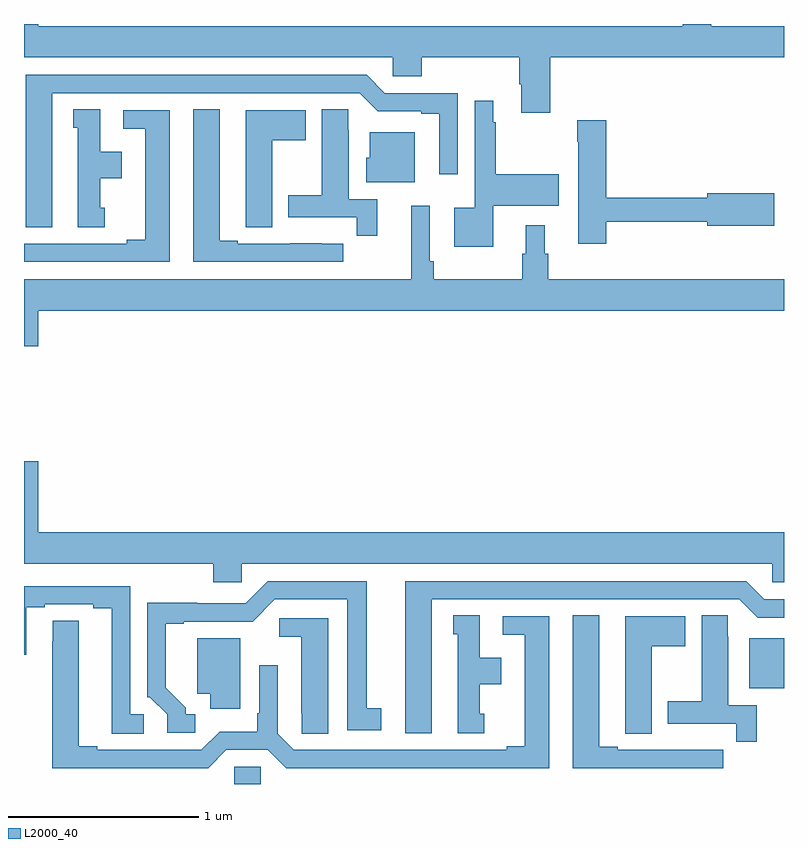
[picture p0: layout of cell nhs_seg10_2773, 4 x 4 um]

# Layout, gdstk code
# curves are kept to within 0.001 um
import gdstk
lib = gdstk.Library(unit=1e-6, precision=1e-09)
def R(c, l, rs):  # rectangles x0, y0, x1, y1
    for r in rs: c.add(gdstk.rectangle(r[:2], r[2:], *l))
def P(c, l, *ps):  # polygons
    for p in ps: c.add(gdstk.Polygon(p, *l))
L2000_40 = (2000, 40)

nhs_seg10_2773 = lib.new_cell('nhs_seg10_2773')
R(nhs_seg10_2773, L2000_40, [(262.107,1288.5,262.245,1288.59), (264.818,1289.003,265,1289.266)])
P(nhs_seg10_2773, L2000_40, [(263.771,1292.324),(265,1292.324),(265,1292.488),(264.618,1292.488),(264.618,1292.5),(264.467,1292.5),(264.467,1292.488),(261.076,1292.488),(261.076,1292.5),(261,1292.5),(261,1292.324),(262.941,1292.324),(262.941,1292.226),(263.093,1292.226),(263.093,1292.324),(263.606,1292.324),(263.606,1292.182),(263.618,1292.182),(263.618,1292.034),(263.771,1292.034)],
  [(261.148,1292.136),(262.767,1292.136),(262.863,1292.04),(263.09,1292.04),(263.09,1292.028),(263.186,1292.028),(263.186,1291.71),(263.283,1291.71),(263.283,1292.136),(262.899,1292.136),(262.803,1292.232),(261.008,1292.232),(261.008,1291.431),(261.148,1291.431)],
  [(263.47,1291.544),(263.815,1291.544),(263.815,1291.71),(263.482,1291.71),(263.482,1291.982),(263.47,1291.982),(263.47,1292.095),(263.373,1292.095),(263.373,1291.534),(263.264,1291.534),(263.264,1291.328),(263.47,1291.328)],
  [(262.859,1291.578),(262.708,1291.578),(262.708,1291.94),(262.707,1291.94),(262.707,1292.051),(262.568,1292.051),(262.568,1291.599),(262.391,1291.599),(262.391,1291.482),(262.75,1291.482),(262.75,1291.386),(262.859,1291.386)],
  [(261.424,1291.533),(261.4,1291.533),(261.4,1291.688),(261.514,1291.688),(261.514,1291.828),(261.4,1291.828),(261.4,1292.051),(261.26,1292.051),(261.26,1291.953),(261.284,1291.953),(261.284,1291.431),(261.424,1291.431)],
  [(262.681,1291.344),(262.568,1291.344),(262.568,1291.345),(262.402,1291.345),(262.402,1291.344),(262.126,1291.344),(262.126,1291.359),(262.03,1291.359),(262.03,1292.051),(261.89,1292.051),(261.89,1291.248),(262.681,1291.248)],
  [(262.306,1291.888),(262.483,1291.888),(262.483,1292.047),(262.166,1292.047),(262.166,1291.537),(262.167,1291.537),(262.167,1291.429),(262.306,1291.429)],
  [(261.766,1292.046),(261.522,1292.046),(261.522,1291.95),(261.638,1291.95),(261.638,1291.364),(261.542,1291.364),(261.542,1291.344),(261,1291.344),(261,1291.248),(261.766,1291.248)],
  [(264.065,1291.458),(264.596,1291.458),(264.596,1291.439),(264.949,1291.439),(264.949,1291.61),(264.596,1291.61),(264.596,1291.586),(264.065,1291.586),(264.065,1291.993),(263.911,1291.993),(263.911,1291.88),(263.918,1291.88),(263.918,1291.344),(264.065,1291.344)],
  [(263.056,1291.93),(262.82,1291.93),(262.82,1291.797),(262.802,1291.797),(262.802,1291.667),(263.056,1291.667)],
  [(261.076,1290.992),(265,1290.992),(265,1291.156),(263.759,1291.156),(263.759,1291.29),(263.74,1291.29),(263.74,1291.441),(263.642,1291.441),(263.642,1291.29),(263.623,1291.29),(263.623,1291.156),(263.156,1291.156),(263.156,1291.252),(263.136,1291.252),(263.136,1291.543),(263.039,1291.543),(263.039,1291.156),(261,1291.156),(261,1290.804),(261.076,1290.804)],
  [(262.146,1289.66),(264.939,1289.66),(264.939,1289.562),(265,1289.562),(265,1289.824),(261.076,1289.824),(261.076,1290.199),(261,1290.199),(261,1289.66),(261.995,1289.66),(261.995,1289.562),(262.146,1289.562)],
  [(263.146,1289.472),(264.765,1289.472),(264.861,1289.376),(265,1289.376),(265,1289.472),(264.897,1289.472),(264.801,1289.568),(263.006,1289.568),(263.006,1288.767),(263.146,1288.767)],
  [(261.901,1288.866),(261.85,1288.866),(261.85,1288.901),(261.745,1289.006),(261.745,1289.343),(261.841,1289.343),(261.841,1289.355),(262.203,1289.355),(262.32,1289.472),(262.7,1289.472),(262.7,1288.782),(262.879,1288.782),(262.879,1288.898),(262.804,1288.898),(262.804,1289.568),(262.284,1289.568),(262.167,1289.451),(261.911,1289.451),(261.911,1289.453),(261.648,1289.453),(261.648,1288.956),(261.663,1288.956),(261.753,1288.866),(261.753,1288.77),(261.901,1288.77)],
  [(261.631,1288.866),(261.558,1288.866),(261.558,1289.541),(261,1289.541),(261,1289.179),(261.013,1289.179),(261.013,1289.43),(261.109,1289.43),(261.109,1289.445),(261.365,1289.445),(261.365,1289.425),(261.461,1289.425),(261.461,1288.765),(261.631,1288.765)],
  [(263.422,1288.869),(263.398,1288.869),(263.398,1289.024),(263.512,1289.024),(263.512,1289.164),(263.398,1289.164),(263.398,1289.387),(263.258,1289.387),(263.258,1289.289),(263.282,1289.289),(263.282,1288.767),(263.422,1288.767)],
  [(264.857,1288.914),(264.706,1288.914),(264.706,1289.276),(264.705,1289.276),(264.705,1289.387),(264.566,1289.387),(264.566,1288.935),(264.389,1288.935),(264.389,1288.818),(264.748,1288.818),(264.748,1288.722),(264.857,1288.722)],
  [(264.679,1288.68),(264.566,1288.68),(264.566,1288.681),(264.4,1288.681),(264.4,1288.68),(264.124,1288.68),(264.124,1288.695),(264.028,1288.695),(264.028,1289.387),(263.888,1289.387),(263.888,1288.584),(264.679,1288.584)],
  [(264.304,1289.224),(264.481,1289.224),(264.481,1289.383),(264.164,1289.383),(264.164,1288.873),(264.165,1288.873),(264.165,1288.765),(264.304,1288.765)],
  [(262.065,1288.68),(262.283,1288.68),(262.379,1288.584),(263.764,1288.584),(263.764,1289.382),(263.52,1289.382),(263.52,1289.286),(263.636,1289.286),(263.636,1288.7),(263.54,1288.7),(263.54,1288.68),(262.419,1288.68),(262.335,1288.764),(262.335,1289.125),(262.239,1289.125),(262.239,1288.873),(262.227,1288.873),(262.227,1288.776),(262.029,1288.776),(261.933,1288.68),(261.385,1288.68),(261.385,1288.7),(261.289,1288.7),(261.289,1289.36),(261.15,1289.36),(261.149,1288.584),(261.969,1288.584)],
  [(262.6,1289.373),(262.344,1289.373),(262.344,1289.276),(262.46,1289.276),(262.46,1288.873),(262.461,1288.873),(262.461,1288.765),(262.6,1288.765)],
  [(262.138,1289.266),(261.911,1289.266),(261.911,1288.976),(261.98,1288.976),(261.98,1288.896),(262.138,1288.896)])

lib.write_gds('nhs_seg10_2773.gds')
